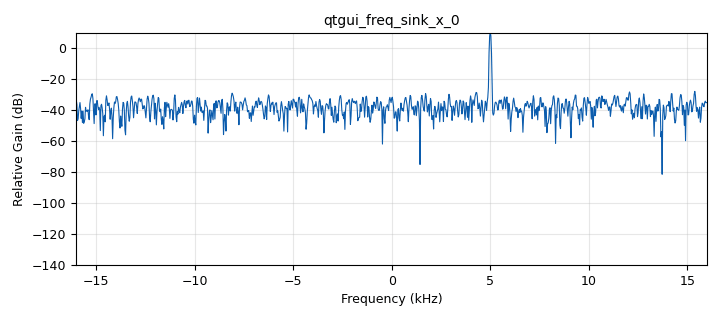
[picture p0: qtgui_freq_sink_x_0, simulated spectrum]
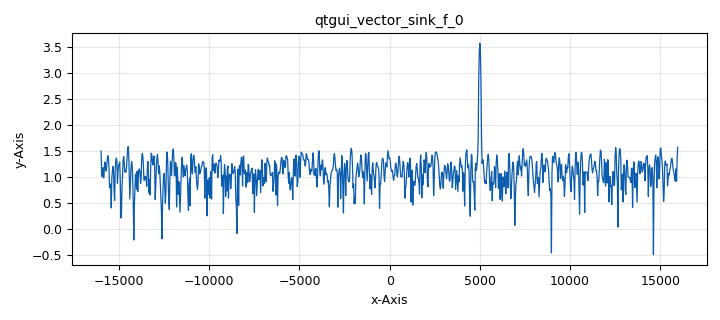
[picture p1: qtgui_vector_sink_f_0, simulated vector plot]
options:
  parameters:
    generate_options: qt_gui
    id: fft_alternative
    output_language: python
    title: Not titled yet
  states: {}

blocks:
- name: samp_rate
  id: variable
  parameters:
    value: '32000'
  states: {}
- name: start_freq
  id: variable
  parameters:
    value: '-16000'
  states: {}
- name: step
  id: variable
  parameters:
    value: samp_rate/1024
  states: {}
- name: vec_len
  id: variable
  parameters:
    value: '1024'
  states: {}
- name: analog_noise_source_x_0
  id: analog_noise_source_x
  parameters:
    amp: '1'
    noise_type: analog.GR_GAUSSIAN
    seed: '0'
    type: complex
  states: {}
- name: analog_sig_source_x_0
  id: analog_sig_source_x
  parameters:
    amp: '10'
    freq: '5000'
    offset: '0'
    phase: '0'
    samp_rate: samp_rate
    type: complex
    waveform: analog.GR_COS_WAVE
  states: {}
- name: blocks_add_xx_0
  id: blocks_add_xx
  parameters:
    type: complex
  states: {}
- name: blocks_complex_to_mag_0
  id: blocks_complex_to_mag
  parameters:
    vlen: vec_len
  states: {}
- name: blocks_nlog10_ff_0
  id: blocks_nlog10_ff
  parameters:
    k: '0'
    n: '1'
    vlen: vec_len
  states: {}
- name: blocks_stream_to_vector_0
  id: blocks_stream_to_vector
  parameters:
    num_items: vec_len
    type: complex
  states: {}
- name: blocks_throttle_0
  id: blocks_throttle
  parameters:
    samples_per_second: samp_rate
    type: complex
  states: {}
- name: fft_vxx_0
  id: fft_vxx
  parameters:
    fft_size: vec_len
    forward: 'True'
    shift: 'True'
    type: complex
    window: window.blackmanharris(1024)
  states: {}
- name: qtgui_freq_sink_x_0
  id: qtgui_freq_sink_x
  parameters:
    bw: samp_rate
    fc: '0'
    fftsize: '1024'
    type: complex
  states: {}
- name: qtgui_vector_sink_f_0
  id: qtgui_vector_sink_f
  parameters:
    autoscale: 'True'
    grid: 'True'
    vlen: vec_len
    x_start: start_freq
    x_step: step
  states: {}

connections:
- [analog_noise_source_x_0, '0', blocks_add_xx_0, '1']
- [analog_sig_source_x_0, '0', blocks_add_xx_0, '0']
- [blocks_add_xx_0, '0', blocks_throttle_0, '0']
- [blocks_complex_to_mag_0, '0', blocks_nlog10_ff_0, '0']
- [blocks_nlog10_ff_0, '0', qtgui_vector_sink_f_0, '0']
- [blocks_stream_to_vector_0, '0', fft_vxx_0, '0']
- [blocks_throttle_0, '0', blocks_stream_to_vector_0, '0']
- [blocks_throttle_0, '0', qtgui_freq_sink_x_0, '0']
- [fft_vxx_0, '0', blocks_complex_to_mag_0, '0']

metadata:
  file_format: 1
  grc_version: 3.10.3.0
